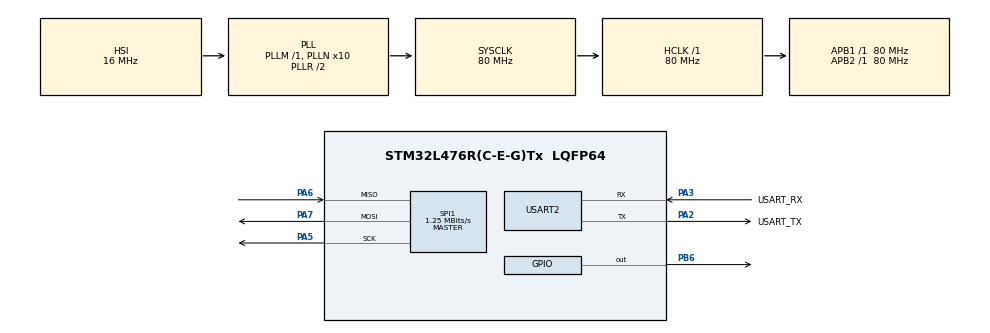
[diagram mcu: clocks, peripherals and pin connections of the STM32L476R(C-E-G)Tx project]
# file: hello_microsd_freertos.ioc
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Mcu.Family=STM32L4
PA2.GPIO_PuPd=GPIO_NOPULL
PA6.Mode=Full_Duplex_Master
VP_SYS_VS_tim6.Mode=TIM6
RCC.CortexFreq_Value=80000000
FATFS._USE_LFN=2
SPI1.VirtualType=VM_MASTER
NVIC.TIM6_DAC_IRQn=true\:0\:0\:false\:false\:true\:false\:false\:true
PH0-OSC_IN\ (PH0).Signal=RCC_OSC_IN
PA3.GPIO_PuPd=GPIO_NOPULL
PA2.GPIO_Speed=GPIO_SPEED_FREQ_VERY_HIGH
PC15-OSC32_OUT\ (PC15).Mode=LSE-External-Oscillator
PA3.GPIO_Speed=GPIO_SPEED_FREQ_VERY_HIGH
RCC.SYSCLKSource=RCC_SYSCLKSOURCE_PLLCLK
ProjectManager.StackSize=0x400
PB3\ (JTDO-TRACESWO).Signal=SYS_JTDO-SWO
PC14-OSC32_IN\ (PC14).Mode=LSE-External-Oscillator
VP_FREERTOS_VS_CMSIS_V2.Mode=CMSIS_V2
PA14\ (JTCK-SWCLK).Signal=SYS_JTCK-SWCLK
SPI1.Direction=SPI_DIRECTION_2LINES
RCC.HCLKFreq_Value=80000000
RCC.APB2TimFreq_Value=80000000
PB6.Signal=GPIO_Output
SPI1.CalculateBaudRate=1.25 MBits/s
RCC.AHBFreq_Value=80000000
RCC.PREFETCH_ENABLE=1
RCC.HSE_VALUE=8000000
USART2.VirtualMode-Asynchronous=VM_ASYNC
SPI1.DataSize=SPI_DATASIZE_8BIT
Mcu.Package=LQFP64
PA6.Signal=SPI1_MISO
NVIC.TimeBase=TIM6_DAC_IRQn
PA2.GPIO_Label=USART_TX
NVIC.TimeBaseIP=TIM6
RCC.APB1TimFreq_Value=80000000
PA13\ (JTMS-SWDIO).Signal=SYS_JTMS-SWDIO
SPI1.BaudRatePrescaler=SPI_BAUDRATEPRESCALER_64
PA3.Signal=USART2_RX
PA5.Mode=Full_Duplex_Master
PA2.GPIO_Mode=GPIO_MODE_AF_PP
RCC.MSI_VALUE=4000000
RCC.PLLSourceVirtual=RCC_PLLSOURCE_HSI
PA14\ (JTCK-SWCLK).Mode=Serial_Wire
FREERTOS.Tasks01=defaultTask,24,256,StartDefaultTask,Default,NULL,Dynamic,NULL,NULL
PA7.Mode=Full_Duplex_Master
PC15-OSC32_OUT\ (PC15).Signal=RCC_OSC32_OUT
PA14\ (JTCK-SWCLK).GPIO_Label=TCK
PB3\ (JTDO-TRACESWO).GPIO_Label=SWO
PH1-OSC_OUT\ (PH1).Signal=RCC_OSC_OUT
PA3.Mode=Asynchronous
ProjectManager.TargetToolchain=STM32CubeIDE
PA3.GPIO_Mode=GPIO_MODE_AF_PP
RCC.USBFreq_Value=64000000
VP_FATFS_VS_Generic.Mode=User_defined
PA5.Signal=SPI1_SCK
board=NUCLEO-L476RG
RCC.VCOOutputFreq_Value=160000000
RCC.APB2Freq_Value=80000000
PA13\ (JTMS-SWDIO).GPIO_Label=TMS
SPI1.Mode=SPI_MODE_MASTER
RCC.ADCFreq_Value=64000000
Mcu.Name=STM32L476R(C-E-G)Tx
PA2.Signal=USART2_TX
FATFS._MAX_SS=4096
PA13\ (JTMS-SWDIO).Mode=Serial_Wire
RCC.SYSCLKFreq_VALUE=80000000
PC14-OSC32_IN\ (PC14).Signal=RCC_OSC32_IN
PB6.PinState=GPIO_PIN_SET
ProjectManager.HeapSize=0x200
RCC.HSI_VALUE=16000000
NVIC.PriorityGroup=NVIC_PRIORITYGROUP_4
RCC.PLLN=10
PA2.Mode=Asynchronous
PB6.GPIO_Speed=GPIO_SPEED_FREQ_MEDIUM
RCC.APB1Freq_Value=80000000
PA3.GPIO_Label=USART_RX
PA7.Signal=SPI1_MOSI

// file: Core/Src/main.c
/* USER CODE BEGIN Header */
/**
  ******************************************************************************
  * @file           : main.c
  * @brief          : Main program body
  ******************************************************************************
  * @attention
  *
  * <h2><center>&copy; Copyright (c) 2021 STMicroelectronics.
  * All rights reserved.</center></h2>
  *
  * This software component is licensed by ST under BSD 3-Clause license,
  * the "License"; You may not use this file except in compliance with the
  * License. You may obtain a copy of the License at:
  *                        opensource.org/licenses/BSD-3-Clause
  *
  ******************************************************************************
  */
/* USER CODE END Header */
#include "main.h"
#include "cmsis_os.h"
#include "fatfs.h"

/* USER CODE BEGIN Includes */
#include <stdio.h>
#include <string.h>
#include "fatfs_sd.h"
#include "piece.h"
/* USER CODE END Includes */

/* USER CODE BEGIN PD */
#ifdef __GNUC__
	#define PUTCHAR_PROTOTYPE int __io_putchar(int ch)
#else
	#define PUTCHAR_PROTOTYPE int fputc(int ch, FILE *f)
#endif /* __GNUC__ */
/* USER CODE END PD */

SPI_HandleTypeDef hspi1;

UART_HandleTypeDef huart2;

/* Definitions for defaultTask */
osThreadId_t defaultTaskHandle;
const osThreadAttr_t defaultTask_attributes = {
  .name = "defaultTask",
  .stack_size = 256 * 4,
  .priority = (osPriority_t) osPriorityNormal,
};

void SystemClock_Config(void);
static void MX_GPIO_Init(void);
static void MX_USART2_UART_Init(void);
static void MX_SPI1_Init(void);
void StartDefaultTask(void *argument);

/* USER CODE BEGIN 0 */

FATFS fs;
FATFS *pfs;
FIL fil;
FRESULT fres;
DWORD fre_clust;
uint32_t totalSpace, freeSpace;
char buffer[100];

PieceHandle_t xPiece;

// sending to UART
PUTCHAR_PROTOTYPE
{
	HAL_UART_Transmit(&huart2, (uint8_t *)&ch, 1, 0xFFFF);
	return ch;
}

void transmit_uart(char *string) {
	uint8_t len = strlen(string);
	HAL_UART_Transmit(&huart2, (uint8_t*) string, len, 200);
}

/* USER CODE END 0 */

int main(void)
{

  /* MCU Configuration--------------------------------------------------------*/

  /* Reset of all peripherals, Initializes the Flash interface and the Systick. */
  HAL_Init();

  /* Configure the system clock */
  SystemClock_Config();

  /* Initialize all configured peripherals */
  MX_GPIO_Init();
  MX_USART2_UART_Init();
  MX_SPI1_Init();
  MX_FATFS_Init();

  /* Init scheduler */
  osKernelInitialize();

  /* Create the thread(s) */
  /* creation of defaultTask */
  defaultTaskHandle = osThreadNew(StartDefaultTask, NULL, &defaultTask_attributes);

  /* Start scheduler */
  osKernelStart();

  /* We should never get here as control is now taken by the scheduler */
  /* Infinite loop */
  while (1)
  {

  }
}

void SystemClock_Config(void)
{
  RCC_OscInitTypeDef RCC_OscInitStruct = {0};
  RCC_ClkInitTypeDef RCC_ClkInitStruct = {0};
  RCC_PeriphCLKInitTypeDef PeriphClkInit = {0};

  /** Initializes the RCC Oscillators according to the specified parameters
  * in the RCC_OscInitTypeDef structure.
  */
  RCC_OscInitStruct.OscillatorType = RCC_OSCILLATORTYPE_HSI;
  RCC_OscInitStruct.HSIState = RCC_HSI_ON;
  RCC_OscInitStruct.HSICalibrationValue = RCC_HSICALIBRATION_DEFAULT;
  RCC_OscInitStruct.PLL.PLLState = RCC_PLL_ON;
  RCC_OscInitStruct.PLL.PLLSource = RCC_PLLSOURCE_HSI;
  RCC_OscInitStruct.PLL.PLLM = 1;
  RCC_OscInitStruct.PLL.PLLN = 10;
  RCC_OscInitStruct.PLL.PLLP = RCC_PLLP_DIV7;
  RCC_OscInitStruct.PLL.PLLQ = RCC_PLLQ_DIV2;
  RCC_OscInitStruct.PLL.PLLR = RCC_PLLR_DIV2;
  if (HAL_RCC_OscConfig(&RCC_OscInitStruct) != HAL_OK)
  {
    Error_Handler();
  }
  /** Initializes the CPU, AHB and APB buses clocks
  */
  RCC_ClkInitStruct.ClockType = RCC_CLOCKTYPE_HCLK|RCC_CLOCKTYPE_SYSCLK
                              |RCC_CLOCKTYPE_PCLK1|RCC_CLOCKTYPE_PCLK2;
  RCC_ClkInitStruct.SYSCLKSource = RCC_SYSCLKSOURCE_PLLCLK;
  RCC_ClkInitStruct.AHBCLKDivider = RCC_SYSCLK_DIV1;
  RCC_ClkInitStruct.APB1CLKDivider = RCC_HCLK_DIV1;
  RCC_ClkInitStruct.APB2CLKDivider = RCC_HCLK_DIV1;

  if (HAL_RCC_ClockConfig(&RCC_ClkInitStruct, FLASH_LATENCY_4) != HAL_OK)
  {
    Error_Handler();
  }
  PeriphClkInit.PeriphClockSelection = RCC_PERIPHCLK_USART2;
  PeriphClkInit.Usart2ClockSelection = RCC_USART2CLKSOURCE_PCLK1;
  if (HAL_RCCEx_PeriphCLKConfig(&PeriphClkInit) != HAL_OK)
  {
    Error_Handler();
  }
  /** Configure the main internal regulator output voltage
  */
  if (HAL_PWREx_ControlVoltageScaling(PWR_REGULATOR_VOLTAGE_SCALE1) != HAL_OK)
  {
    Error_Handler();
  }
}

static void MX_SPI1_Init(void)
{

  /* SPI1 parameter configuration*/
  hspi1.Instance = SPI1;
  hspi1.Init.Mode = SPI_MODE_MASTER;
  hspi1.Init.Direction = SPI_DIRECTION_2LINES;
  hspi1.Init.DataSize = SPI_DATASIZE_8BIT;
  hspi1.Init.CLKPolarity = SPI_POLARITY_LOW;
  hspi1.Init.CLKPhase = SPI_PHASE_1EDGE;
  hspi1.Init.NSS = SPI_NSS_SOFT;
  hspi1.Init.BaudRatePrescaler = SPI_BAUDRATEPRESCALER_64;
  hspi1.Init.FirstBit = SPI_FIRSTBIT_MSB;
  hspi1.Init.TIMode = SPI_TIMODE_DISABLE;
  hspi1.Init.CRCCalculation = SPI_CRCCALCULATION_DISABLE;
  hspi1.Init.CRCPolynomial = 7;
  hspi1.Init.CRCLength = SPI_CRC_LENGTH_DATASIZE;
  hspi1.Init.NSSPMode = SPI_NSS_PULSE_ENABLE;
  if (HAL_SPI_Init(&hspi1) != HAL_OK)
  {
    Error_Handler();
  }

}

static void MX_USART2_UART_Init(void)
{

  huart2.Instance = USART2;
  huart2.Init.BaudRate = 115200;
  huart2.Init.WordLength = UART_WORDLENGTH_8B;
  huart2.Init.StopBits = UART_STOPBITS_1;
  huart2.Init.Parity = UART_PARITY_NONE;
  huart2.Init.Mode = UART_MODE_TX_RX;
  huart2.Init.HwFlowCtl = UART_HWCONTROL_NONE;
  huart2.Init.OverSampling = UART_OVERSAMPLING_16;
  huart2.Init.OneBitSampling = UART_ONE_BIT_SAMPLE_DISABLE;
  huart2.AdvancedInit.AdvFeatureInit = UART_ADVFEATURE_NO_INIT;
  if (HAL_UART_Init(&huart2) != HAL_OK)
  {
    Error_Handler();
  }

}

static void MX_GPIO_Init(void)
{
  GPIO_InitTypeDef GPIO_InitStruct = {0};

  /* GPIO Ports Clock Enable */
  __HAL_RCC_GPIOC_CLK_ENABLE();
  __HAL_RCC_GPIOH_CLK_ENABLE();
  __HAL_RCC_GPIOA_CLK_ENABLE();
  __HAL_RCC_GPIOB_CLK_ENABLE();

  /*Configure GPIO pin Output Level */
  HAL_GPIO_WritePin(GPIOB, GPIO_PIN_6, GPIO_PIN_SET);

  /*Configure GPIO pin : PB6 */
  GPIO_InitStruct.Pin = GPIO_PIN_6;
  GPIO_InitStruct.Mode = GPIO_MODE_OUTPUT_PP;
  GPIO_InitStruct.Pull = GPIO_NOPULL;
  GPIO_InitStruct.Speed = GPIO_SPEED_FREQ_MEDIUM;
  HAL_GPIO_Init(GPIOB, &GPIO_InitStruct);

}

/* USER CODE BEGIN 4 */
typedef struct
{
	union
	{
		uint8_t a[2];
		uint16_t b;
	}
	//uint16_t a;
} TestHandle_t;

/* USER CODE END 4 */

void StartDefaultTask(void *argument)
{
  /* USER CODE BEGIN 5 */

	 /* Waiting for the Micro SD module to initialize */

		/*
		HAL_Delay(500);

		fres = f_mount(&fs, "", 0);
		if (fres == FR_OK) {
			transmit_uart("Micro SD card is mounted successfully!\n");
		} else if (fres != FR_OK) {
			transmit_uart("Micro SD card's mount error!\n");
		}

		// FA_OPEN_APPEND opens file if it exists and if not then creates it,
		// the pointer is set at the end of the file for appending
		fres = f_open(&fil, "log-file.txt", FA_OPEN_APPEND | FA_WRITE | FA_READ);
		if (fres == FR_OK) {
			transmit_uart("File opened for reading and checking the free space.\n");
		} else if (fres != FR_OK) {
			transmit_uart("File was not opened for reading and checking the free space!\n");
		}

		fres = f_getfree("", &fre_clust, &pfs);
		totalSpace = (uint32_t) ((pfs->n_fatent - 2) * pfs->csize * 0.5);
		freeSpace = (uint32_t) (fre_clust * pfs->csize * 0.5);
		char mSz[12];
		sprintf(mSz, "%lu", freeSpace);
		if (fres == FR_OK) {
			transmit_uart("The free space is: ");
			transmit_uart(mSz);
			transmit_uart("\n");
		} else if (fres != FR_OK) {
			transmit_uart("The free space could not be determined!\n");
		}

		for (uint8_t i = 0; i < 3; i++) {
			f_puts("This text is written in the file.\n", &fil);
		}

		fres = f_close(&fil);
		if (fres == FR_OK) {
			transmit_uart("The file is closed.\n");
		} else if (fres != FR_OK) {
			transmit_uart("The file was not closed.\n");
		}

		// Open file to read
		fres = f_open(&fil, "log-file.txt", FA_READ);
		if (fres == FR_OK) {
			transmit_uart("File opened for reading.\n");
		} else if (fres != FR_OK) {
			transmit_uart("File was not opened for reading!\n");
		}

		while (f_gets(buffer, sizeof(buffer), &fil)) {
			char mRd[100];
			sprintf(mRd, "%s", buffer);
			transmit_uart(mRd);

		}

		// Close file
		fres = f_close(&fil);
		if (fres == FR_OK) {
			transmit_uart("The file is closed.\n");
		} else if (fres != FR_OK) {
			transmit_uart("The file was not closed.\n");
		}

		f_mount(NULL, "", 1);
		if (fres == FR_OK) {
			transmit_uart("The Micro SD card is unmounted!\n");
		} else if (fres != FR_OK) {
			transmit_uart("The Micro SD was not unmounted!");
		}

		*/

  /* Infinite loop */
  for(;;)
  {
  	osDelay(2000);

  	// Mount
 		fres = f_mount(&fs, "", 0);
 		if (fres == FR_OK) {
 			transmit_uart("Micro SD card is mounted successfully!\n");
 		} else if (fres != FR_OK) {
 			transmit_uart("Micro SD card's mount error!\n");
 		}

 		/* Open file to read */
 		/*
 		fres = f_open(&fil, "log-file.txt", FA_READ);
 		if (fres == FR_OK) {
 			transmit_uart("File opened for reading.\n");
 		} else if (fres != FR_OK) {
 			transmit_uart("File was not opened for reading!\n");
 		}

 		while (f_gets(buffer, sizeof(buffer), &fil)) {
 			char mRd[100];
 			sprintf(mRd, "%s", buffer);
 			transmit_uart(mRd);
 		}
 		*/

 		fres = f_open(&fil, "glazunov_violin_concerto.piece", FA_READ);
 		if (fres == FR_OK) {
 			transmit_uart("File opened for reading.\n");
 		} else if (fres != FR_OK) {
 			transmit_uart("File was not opened for reading!\n");
 		}

 		/*
 		char c;
 		while (f_gets(&c, sizeof(c), &fil)) {
 	 		printf("Character: %u\r\n", c);
 		}
 		*/

 		/*
 		uint8_t usNumBytesRead;
 		uint32_t ulCompositionSize;
 		uint16_t uBPM;
 		f_read(&fil, &uBPM, sizeof(uBPM), &usNumBytesRead);
 	 	printf("BPM: %u\r\n", uBPM);
 		f_read(&fil, &ulCompositionSize, sizeof(ulCompositionSize), &usNumBytesRead);
 	 	printf("Composition Size: %lu\r\n", ulCompositionSize);
		*/

 		Piece_vInit(&xPiece, &fil);
 		Piece_vSetComposition(&xPiece, &fil);

 		// Initial Command
 		Piece_vParseCommand(&xPiece);

 		/*
 		uint8_t usNumBytesRead;
 		f_read(&fil, xPiece.xPieceInformation.pusName, sizeof(xPiece.xPieceInformation.pusName), &usNumBytesRead);
 	 	printf("Name: %s\r\n", xPiece.xPieceInformation.pusName);
		*/

 	 	/*
 		TestHandle_t c;
 		uint8_t usNumBytesRead;

 		uint8_t a[2];

 		uint16_t b;

 		// NEed to rearrange the file for Little endian
 		f_read(&fil, &c, sizeof(c), &usNumBytesRead);
 	 	printf("Character: %u\r\n", c.a[0]);
 	 	printf("Character: %u\r\n", c.a[1]);
 	 	printf("Character: %u\r\n", c.b);
		*/

 	 	//printf("Character: %u\r\n", a[0]);
 	 	//printf("Character: %u\r\n", a[1]);

 		//f_read(&fil, &c, sizeof(c), &usNumBytesRead);
 	 	//printf("Character: %u\r\n", c);
 			/*
 		uint16_t uBPM;
 		uint32_t ulNumNotes;

 		//f_gets(&uBPM, sizeof(uBPM), &fil);
 		f_gets(&uBPM, 2, &fil);
 		//f_gets(&ulNumNotes, sizeof(ulNumNotes), &fil);
 		f_gets(&ulNumNotes, 4, &fil);

 		printf("BMP: %u\r\n", uBPM);
 		printf("Num Notes: %lu\r\n", ulNumNotes);
 		*/

 		/*
 		while (f_gets(buffer, sizeof(buffer), &fil)) {
 			char mRd[100];
 			sprintf(mRd, "%s\r\n", buffer);
 			transmit_uart(mRd);
 		}
 		*/

 		/* Close file */
 		fres = f_close(&fil);
 		if (fres == FR_OK) {
 			transmit_uart("The file is closed.\n");
 		} else if (fres != FR_OK) {
 			transmit_uart("The file was not closed.\n");
 		}

 		f_mount(NULL, "", 1);
 		if (fres == FR_OK) {
 			transmit_uart("The Micro SD card is unmounted!\n");
 		} else if (fres != FR_OK) {
 			transmit_uart("The Micro SD was not unmounted!");
 		}

    osDelay(2000);
  }
  /* USER CODE END 5 */
}

 /**
  * @brief  Period elapsed callback in non blocking mode
  * @note   This function is called  when TIM6 interrupt took place, inside
  * HAL_TIM_IRQHandler(). It makes a direct call to HAL_IncTick() to increment
  * a global variable "uwTick" used as application time base.
  * @param  htim : TIM handle
  * @retval None
  */
void HAL_TIM_PeriodElapsedCallback(TIM_HandleTypeDef *htim)
{
  if (htim->Instance == TIM6) {
    HAL_IncTick();
  }
}

void Error_Handler(void)
{
  __disable_irq();
  while (1)
  {
  }
}

/************************ (C) COPYRIGHT STMicroelectronics *****END OF FILE****/
